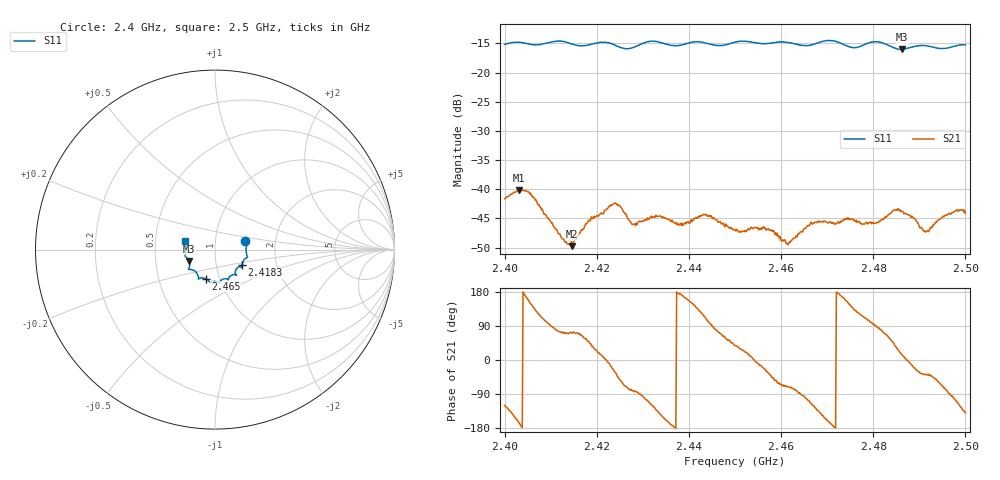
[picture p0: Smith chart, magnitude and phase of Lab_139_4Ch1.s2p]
# Hz S RI R 50
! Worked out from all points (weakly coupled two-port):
!   601 points, 2.4 GHz to 2.5 GHz, reference 50 ohm
!   highest |S21| = -40.17 dB at 2.4032 GHz (marker M1); lowest = -49.8 dB at 2.4147 GHz (marker M2)
!   lowest |S11| = -16.0 dB at 2.4862 GHz (marker M3), VSWR 1.38, Z = 37.1 - j4.84 ohm
!   |S11| at or under -10 dB: start of sweep to end of sweep
!   S12 and S22 are empty: the file has one direction only
!   S11 on the Smith chart (normalised r, x): 2.4 GHz: 1.40, +0.13; 2.4183 GHz: 1.33, -0.24; 2.465 GHz: 0.86, -0.29; 2.5 GHz: 0.71, +0.07
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2.4e9  0.169 0.0455  -0.00416 -0.00717  0 0  0 0
2.403167e9  0.1793 0.0315  -0.00953 -0.00234  0 0  0 0
2.405667e9  0.1741 0.0127  -0.00787 0.00486  0 0  0 0
2.412667e9  0.18 -0.0435  0.00102 0.00359  0 0  0 0
2.414667e9  0.1681 -0.0506  0.0011 0.00306  0 0  0 0
2.416667e9  0.155 -0.0685  0.00185 0.00409  0 0  0 0
2.418333e9  0.1498 -0.0871  0.0036 0.00406  0 0  0 0
2.423833e9  0.1436 -0.0964  0.00652 -0.00388  0 0  0 0
2.428167e9  0.1134 -0.1205  0.000579 -0.00501  0 0  0 0
2.433333e9  0.1165 -0.1414  -0.00426 -0.00399  0 0  0 0
2.438333e9  0.0802 -0.1521  -0.00486 0.000687  0 0  0 0
2.443667e9  0.0697 -0.165  -0.00204 0.00572  0 0  0 0
2.45e9  0.0253 -0.1807  0.00353 0.00275  0 0  0 0
2.456667e9  -0.00701 -0.177  0.00402 -0.00193  0 0  0 0
2.4615e9  -0.0314 -0.1787  0.00116 -0.00314  0 0  0 0
2.465e9  -0.0528 -0.1621  -0.000474 -0.00458  0 0  0 0
2.466667e9  -0.0712 -0.1576  -0.00228 -0.00452  0 0  0 0
2.483333e9  -0.1419 -0.0958  0.00307 0.00526  0 0  0 0
2.486167e9  -0.1446 -0.0636  0.00628 0.00173  0 0  0 0
2.4915e9  -0.1673 -0.0305  0.00345 -0.00266  0 0  0 0
2.496e9  -0.1613 0.0166  0.000987 -0.00589  0 0  0 0
2.5e9  -0.1665 0.0473  -0.00468 -0.00402  0 0  0 0
